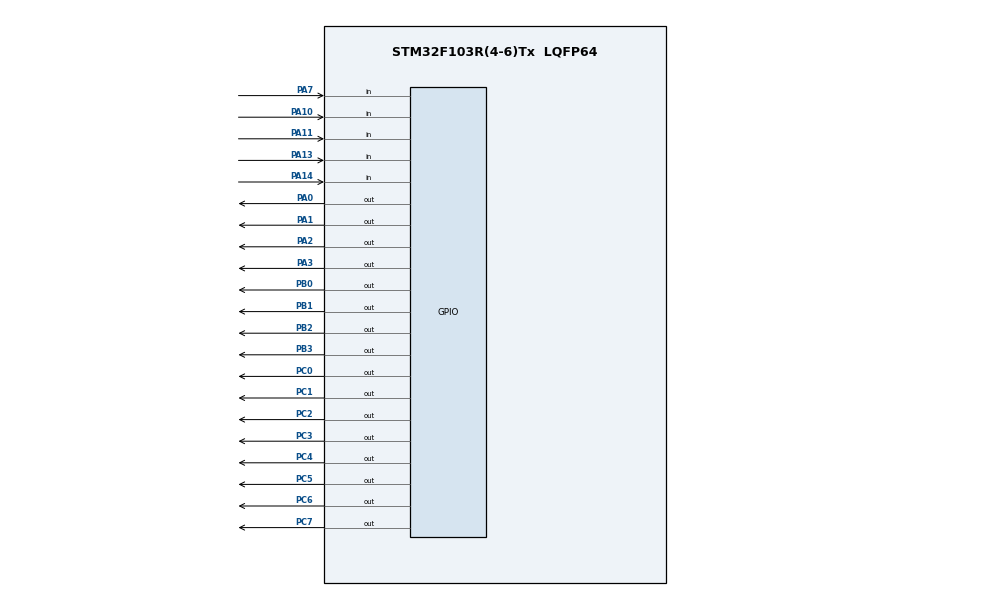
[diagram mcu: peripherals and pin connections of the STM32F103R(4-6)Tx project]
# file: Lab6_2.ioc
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Mcu.Family=STM32F1
Mcu.Name=STM32F103R(4-6)Tx
Mcu.Package=LQFP64
NVIC.PriorityGroup=NVIC_PRIORITYGROUP_4
PA0-WKUP.GPIO_ModeDefaultOutputPP=GPIO_MODE_OUTPUT_PP
PA0-WKUP.Signal=GPIO_Output
PA1.GPIO_ModeDefaultOutputPP=GPIO_MODE_OUTPUT_PP
PA1.Signal=GPIO_Output
PA10.GPIO_PuPd=GPIO_PULLDOWN
PA10.Signal=GPIO_Input
PA11.GPIO_PuPd=GPIO_PULLDOWN
PA11.Signal=GPIO_Input
PA13.GPIO_PuPd=GPIO_PULLDOWN
PA13.Signal=GPIO_Input
PA14.GPIO_PuPd=GPIO_PULLDOWN
PA14.Signal=GPIO_Input
PA2.GPIO_ModeDefaultOutputPP=GPIO_MODE_OUTPUT_PP
PA2.Signal=GPIO_Output
PA3.GPIO_ModeDefaultOutputPP=GPIO_MODE_OUTPUT_PP
PA3.Signal=GPIO_Output
PA7.GPIO_PuPd=GPIO_PULLDOWN
PA7.Signal=GPIO_Input
PB0.GPIO_ModeDefaultOutputPP=GPIO_MODE_OUTPUT_PP
PB0.Signal=GPIO_Output
PB1.GPIO_ModeDefaultOutputPP=GPIO_MODE_OUTPUT_PP
PB1.Signal=GPIO_Output
PB2.GPIO_ModeDefaultOutputPP=GPIO_MODE_OUTPUT_PP
PB2.Signal=GPIO_Output
PB3.GPIO_ModeDefaultOutputPP=GPIO_MODE_OUTPUT_PP
PB3.Signal=GPIO_Output
PC0.GPIO_ModeDefaultOutputPP=GPIO_MODE_OUTPUT_PP
PC0.Signal=GPIO_Output
PC1.GPIO_ModeDefaultOutputPP=GPIO_MODE_OUTPUT_PP
PC1.Signal=GPIO_Output
PC2.GPIO_ModeDefaultOutputPP=GPIO_MODE_OUTPUT_PP
PC2.Signal=GPIO_Output
PC3.GPIO_ModeDefaultOutputPP=GPIO_MODE_OUTPUT_PP
PC3.Signal=GPIO_Output
PC4.GPIO_ModeDefaultOutputPP=GPIO_MODE_OUTPUT_PP
PC4.Signal=GPIO_Output
PC5.GPIO_ModeDefaultOutputPP=GPIO_MODE_OUTPUT_PP
PC5.Signal=GPIO_Output
PC6.GPIO_ModeDefaultOutputPP=GPIO_MODE_OUTPUT_PP
PC6.Signal=GPIO_Output
PC7.GPIO_ModeDefaultOutputPP=GPIO_MODE_OUTPUT_PP
PC7.Signal=GPIO_Output
ProjectManager.HeapSize=0x200
ProjectManager.StackSize=0x400
ProjectManager.TargetToolchain=STM32CubeIDE
RCC.APB1Freq_Value=8000000
RCC.APB2Freq_Value=8000000
VP_SYS_VS_ND.Mode=No_Debug
board=custom

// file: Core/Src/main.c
/* USER CODE BEGIN Header */
/**
  ******************************************************************************
  * @file           : main.c
  * @brief          : Main program body
  ******************************************************************************
  * @attention
  *
  * <h2><center>&copy; Copyright (c) 2020 STMicroelectronics.
  * All rights reserved.</center></h2>
  *
  * This software component is licensed by ST under BSD 3-Clause license,
  * the "License"; You may not use this file except in compliance with the
  * License. You may obtain a copy of the License at:
  *                        opensource.org/licenses/BSD-3-Clause
  *
  ******************************************************************************
  */
/* USER CODE END Header */

#include "main.h"

void SystemClock_Config(void);
static void MX_GPIO_Init(void);

int main(void)
{

  /* MCU Configuration--------------------------------------------------------*/

  /* Reset of all peripherals, Initializes the Flash interface and the Systick. */
  HAL_Init();

  /* Configure the system clock */
  SystemClock_Config();

  /* Initialize all configured peripherals */
  MX_GPIO_Init();
  /* USER CODE BEGIN 2 */

  uint8_t n1 = 0;
  uint8_t sum=0;

  /* USER CODE END 2 */

  /* Infinite loop */
  while (1)
   {

    /* USER CODE BEGIN 3 */

 	  if (HAL_GPIO_ReadPin(GPIOA, GPIO_PIN_11))
 	  {
 		  n1++;

 	  } else if (HAL_GPIO_ReadPin(GPIOA, GPIO_PIN_10))
 	  {
 		   if ((n1%16) > 0) {
 		  n1--;
 		  }
 	  }else if (HAL_GPIO_ReadPin(GPIOA, GPIO_PIN_14))
 	  {

 			  n1 +=16;

 	  }else if (HAL_GPIO_ReadPin(GPIOA, GPIO_PIN_13))
 	  {
 		  if(n1 > 15) {
 			  n1 -=16;
 		  }
 	  }

 	  if (HAL_GPIO_ReadPin(GPIOA, GPIO_PIN_7)) {
 		  sum = ((n1%16) + ((n1-(n1%16))/16));
 	  }
 		 int digit[2];
 		 digit[1]=sum/10;
 		 digit[0]=sum%10;

 	  GPIOC->ODR = n1;
 	  GPIOB->ODR = digit[0];
      GPIOA->ODR= digit[1];
 	  HAL_Delay(200);

 // n3 = n1 + ((n2-(n2%16))/16);

 	 // n3 %= 20;

 	  	  //HAL_GPIO_WritePin(GPIOD, GPIO_PIN_0 | GPIO_PIN_1 | GPIO_PIN_2 | GPIO_PIN_3, n1);
 //	  if (HAL_GPIO_ReadPin(GPIOC, GPIO_PIN_6)) {
 //		  GPIOB->ODR = n3;
 //	  }
 //	  HAL_Delay(200);

 	  /*uint8_t button;
 	  button = HAL_GPIO_ReadPin(GPIOC, GPIO_PIN_11);
 	  HAL_GPIO_WritePin(GPIOB, GPIO_PIN_0, GPIO_PIN_SET);
 	  HAL_GPIO_WritePin(GPIOB, GPIO_PIN_1, GPIO_PIN_SET);
 	  HAL_GPIO_WritePin(GPIOB, GPIO_PIN_2, GPIO_PIN_SET);
 	  HAL_GPIO_WritePin(GPIOB, GPIO_PIN_3, GPIO_PIN_SET);
 	  HAL_GPIO_WritePin(GPIOB, GPIO_PIN_4, GPIO_PIN_SET);
 	  HAL_GPIO_WritePin(GPIOB, GPIO_PIN_5, GPIO_PIN_SET);
 	  HAL_GPIO_WritePin(GPIOB, GPIO_PIN_6, GPIO_PIN_SET);
 	  HAL_GPIO_WritePin(GPIOB, GPIO_PIN_7, GPIO_PIN_SET);

 	  HAL_Delay(200); */

   }
  /* USER CODE END 3 */
}

void SystemClock_Config(void)
{
  RCC_OscInitTypeDef RCC_OscInitStruct = {0};
  RCC_ClkInitTypeDef RCC_ClkInitStruct = {0};

  /** Initializes the CPU, AHB and APB busses clocks
  */
  RCC_OscInitStruct.OscillatorType = RCC_OSCILLATORTYPE_HSI;
  RCC_OscInitStruct.HSIState = RCC_HSI_ON;
  RCC_OscInitStruct.HSICalibrationValue = RCC_HSICALIBRATION_DEFAULT;
  RCC_OscInitStruct.PLL.PLLState = RCC_PLL_NONE;
  if (HAL_RCC_OscConfig(&RCC_OscInitStruct) != HAL_OK)
  {
    Error_Handler();
  }
  /** Initializes the CPU, AHB and APB busses clocks
  */
  RCC_ClkInitStruct.ClockType = RCC_CLOCKTYPE_HCLK|RCC_CLOCKTYPE_SYSCLK
                              |RCC_CLOCKTYPE_PCLK1|RCC_CLOCKTYPE_PCLK2;
  RCC_ClkInitStruct.SYSCLKSource = RCC_SYSCLKSOURCE_HSI;
  RCC_ClkInitStruct.AHBCLKDivider = RCC_SYSCLK_DIV1;
  RCC_ClkInitStruct.APB1CLKDivider = RCC_HCLK_DIV1;
  RCC_ClkInitStruct.APB2CLKDivider = RCC_HCLK_DIV1;

  if (HAL_RCC_ClockConfig(&RCC_ClkInitStruct, FLASH_LATENCY_0) != HAL_OK)
  {
    Error_Handler();
  }
}

static void MX_GPIO_Init(void)
{
  GPIO_InitTypeDef GPIO_InitStruct = {0};

  /* GPIO Ports Clock Enable */
  __HAL_RCC_GPIOC_CLK_ENABLE();
  __HAL_RCC_GPIOA_CLK_ENABLE();
  __HAL_RCC_GPIOB_CLK_ENABLE();

  /*Configure GPIO pin Output Level */
  HAL_GPIO_WritePin(GPIOC, GPIO_PIN_0|GPIO_PIN_1|GPIO_PIN_2|GPIO_PIN_3
                          |GPIO_PIN_4|GPIO_PIN_5|GPIO_PIN_6|GPIO_PIN_7, GPIO_PIN_RESET);

  /*Configure GPIO pin Output Level */
  HAL_GPIO_WritePin(GPIOA, GPIO_PIN_0|GPIO_PIN_1|GPIO_PIN_2|GPIO_PIN_3, GPIO_PIN_RESET);

  /*Configure GPIO pin Output Level */
  HAL_GPIO_WritePin(GPIOB, GPIO_PIN_0|GPIO_PIN_1|GPIO_PIN_2|GPIO_PIN_3, GPIO_PIN_RESET);

  /*Configure GPIO pins : PC0 PC1 PC2 PC3
                           PC4 PC5 PC6 PC7 */
  GPIO_InitStruct.Pin = GPIO_PIN_0|GPIO_PIN_1|GPIO_PIN_2|GPIO_PIN_3
                          |GPIO_PIN_4|GPIO_PIN_5|GPIO_PIN_6|GPIO_PIN_7;
  GPIO_InitStruct.Mode = GPIO_MODE_OUTPUT_PP;
  GPIO_InitStruct.Pull = GPIO_NOPULL;
  GPIO_InitStruct.Speed = GPIO_SPEED_FREQ_LOW;
  HAL_GPIO_Init(GPIOC, &GPIO_InitStruct);

  /*Configure GPIO pins : PA0 PA1 PA2 PA3 */
  GPIO_InitStruct.Pin = GPIO_PIN_0|GPIO_PIN_1|GPIO_PIN_2|GPIO_PIN_3;
  GPIO_InitStruct.Mode = GPIO_MODE_OUTPUT_PP;
  GPIO_InitStruct.Pull = GPIO_NOPULL;
  GPIO_InitStruct.Speed = GPIO_SPEED_FREQ_LOW;
  HAL_GPIO_Init(GPIOA, &GPIO_InitStruct);

  /*Configure GPIO pins : PA7 PA10 PA11 PA13
                           PA14 */
  GPIO_InitStruct.Pin = GPIO_PIN_7|GPIO_PIN_10|GPIO_PIN_11|GPIO_PIN_13
                          |GPIO_PIN_14;
  GPIO_InitStruct.Mode = GPIO_MODE_INPUT;
  GPIO_InitStruct.Pull = GPIO_PULLDOWN;
  HAL_GPIO_Init(GPIOA, &GPIO_InitStruct);

  /*Configure GPIO pins : PB0 PB1 PB2 PB3 */
  GPIO_InitStruct.Pin = GPIO_PIN_0|GPIO_PIN_1|GPIO_PIN_2|GPIO_PIN_3;
  GPIO_InitStruct.Mode = GPIO_MODE_OUTPUT_PP;
  GPIO_InitStruct.Pull = GPIO_NOPULL;
  GPIO_InitStruct.Speed = GPIO_SPEED_FREQ_LOW;
  HAL_GPIO_Init(GPIOB, &GPIO_InitStruct);

}

void Error_Handler(void)
{
}

/************************ (C) COPYRIGHT STMicroelectronics *****END OF FILE****/
